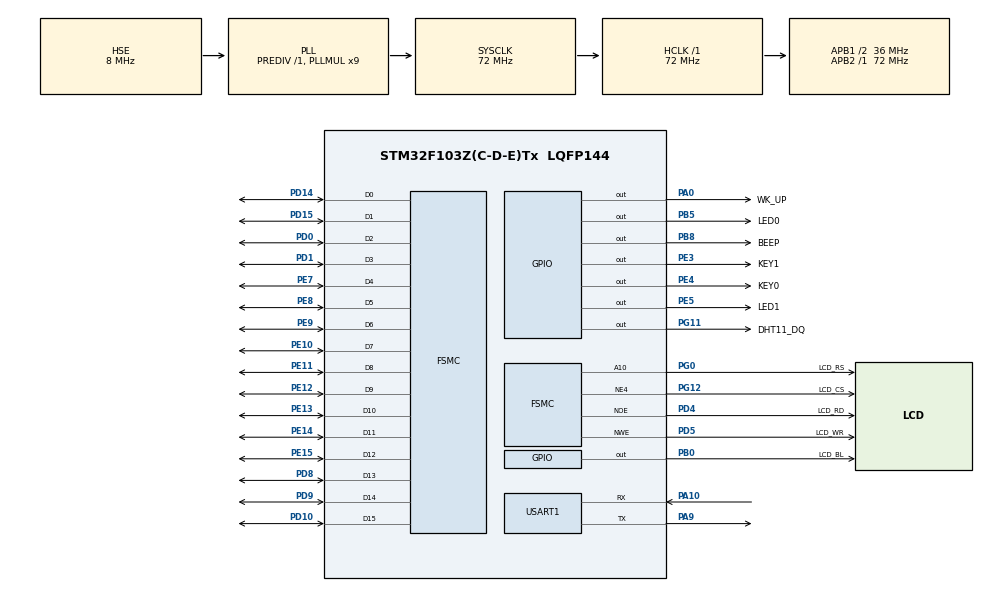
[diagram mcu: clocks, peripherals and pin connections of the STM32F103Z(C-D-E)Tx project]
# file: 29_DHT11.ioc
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FSMC.AddressSetupTime1=0
FSMC.BusTurnAroundDuration1=15
FSMC.DataSetupTime1=15
FSMC.ExtendedAddressSetupTime1=0
FSMC.ExtendedDataSetupTime1=1
FSMC.ExtendedMode1=FSMC_EXTENDED_MODE_ENABLE
Mcu.Family=STM32F1
Mcu.Name=STM32F103Z(C-D-E)Tx
Mcu.Package=LQFP144
NVIC.PriorityGroup=NVIC_PRIORITYGROUP_2
NVIC.USART1_IRQn=true\:2\:2\:true\:false\:true\:true\:true\:true
OSC_IN.Mode=HSE-External-Oscillator
OSC_IN.Signal=RCC_OSC_IN
OSC_OUT.Mode=HSE-External-Oscillator
OSC_OUT.Signal=RCC_OSC_OUT
PA0-WKUP.GPIO_Label=WK_UP
PA0-WKUP.GPIO_PuPd=GPIO_PULLDOWN
PA0-WKUP.GPIO_Speed=GPIO_SPEED_FREQ_HIGH
PA0-WKUP.PinState=GPIO_PIN_RESET
PA0-WKUP.Signal=GPIO_Output
PA10.Mode=Asynchronous
PA10.Signal=USART1_RX
PA13.Mode=Serial_Wire
PA13.Signal=SYS_JTMS-SWDIO
PA14.Mode=Serial_Wire
PA14.Signal=SYS_JTCK-SWCLK
PA9.Mode=Asynchronous
PA9.Signal=USART1_TX
PB0.GPIO_Label=LCD_BL
PB0.GPIO_PuPd=GPIO_PULLUP
PB0.GPIO_Speed=GPIO_SPEED_FREQ_HIGH
PB0.PinState=GPIO_PIN_SET
PB0.Signal=GPIO_Output
PB5.GPIO_Label=LED0
PB5.GPIO_PuPd=GPIO_PULLUP
PB5.GPIO_Speed=GPIO_SPEED_FREQ_HIGH
PB5.PinState=GPIO_PIN_SET
PB5.Signal=GPIO_Output
PB8.GPIO_Label=BEEP
PB8.GPIO_ModeDefaultOutputPP=GPIO_MODE_OUTPUT_PP
PB8.GPIO_PuPd=GPIO_PULLDOWN
PB8.GPIO_Speed=GPIO_SPEED_FREQ_HIGH
PB8.PinState=GPIO_PIN_RESET
PB8.Signal=GPIO_Output
PC14-OSC32_IN.Mode=LSE-External-Oscillator
PC14-OSC32_IN.Signal=RCC_OSC32_IN
PC15-OSC32_OUT.Mode=LSE-External-Oscillator
PC15-OSC32_OUT.Signal=RCC_OSC32_OUT
PD0.Signal=FSMC_D2_DA2
PD1.Signal=FSMC_D3_DA3
PD10.Signal=FSMC_D15_DA15
PD14.Signal=FSMC_D0_DA0
PD15.Signal=FSMC_D1_DA1
PD4.GPIO_Label=LCD_RD
PD4.Signal=FSMC_NOE
PD5.GPIO_Label=LCD_WR
PD5.Signal=FSMC_NWE
PD8.Signal=FSMC_D13_DA13
PD9.Signal=FSMC_D14_DA14
PE10.Signal=FSMC_D7_DA7
PE11.Signal=FSMC_D8_DA8
PE12.Signal=FSMC_D9_DA9
PE13.Signal=FSMC_D10_DA10
PE14.Signal=FSMC_D11_DA11
PE15.Signal=FSMC_D12_DA12
PE3.GPIO_Label=KEY1
PE3.GPIO_PuPd=GPIO_PULLUP
PE3.GPIO_Speed=GPIO_SPEED_FREQ_HIGH
PE3.PinState=GPIO_PIN_SET
PE3.Signal=GPIO_Output
PE4.GPIO_Label=KEY0
PE4.GPIO_PuPd=GPIO_PULLUP
PE4.GPIO_Speed=GPIO_SPEED_FREQ_HIGH
PE4.PinState=GPIO_PIN_SET
PE4.Signal=GPIO_Output
PE5.GPIO_Label=LED1
PE5.GPIO_PuPd=GPIO_PULLUP
PE5.GPIO_Speed=GPIO_SPEED_FREQ_HIGH
PE5.PinState=GPIO_PIN_SET
PE5.Signal=GPIO_Output
PE7.Signal=FSMC_D4_DA4
PE8.Signal=FSMC_D5_DA5
PE9.Signal=FSMC_D6_DA6
PG0.GPIO_Label=LCD_RS
PG0.Signal=FSMC_A10
PG11.GPIO_Label=DHT11_DQ
PG11.GPIO_ModeDefaultOutputPP=GPIO_MODE_OUTPUT_OD
PG11.GPIO_PuPd=GPIO_PULLUP
PG11.GPIO_Speed=GPIO_SPEED_FREQ_HIGH
PG11.PinState=GPIO_PIN_SET
PG11.Signal=GPIO_Output
PG12.GPIO_Label=LCD_CS
PG12.Mode=NorPsramChipSelect4_1
PG12.Signal=FSMC_NE4
ProjectManager.HeapSize=0x200
ProjectManager.StackSize=0x400
ProjectManager.TargetToolchain=STM32CubeIDE
RCC.AHBFreq_Value=72000000
RCC.APB1CLKDivider=RCC_HCLK_DIV2
RCC.APB1Freq_Value=36000000
RCC.APB1TimFreq_Value=72000000
RCC.APB2Freq_Value=72000000
RCC.APB2TimFreq_Value=72000000
RCC.HCLKFreq_Value=72000000
RCC.PLLMUL=RCC_PLL_MUL9
RCC.PLLSourceVirtual=RCC_PLLSOURCE_HSE
RCC.SYSCLKFreq_VALUE=72000000
RCC.SYSCLKSource=RCC_SYSCLKSOURCE_PLLCLK
RCC.USBFreq_Value=72000000
SH.FSMC_A10.0=FSMC_A10,A10_1
SH.FSMC_D0_DA0.0=FSMC_D0,16b-d1
SH.FSMC_D10_DA10.0=FSMC_D10,16b-d1
SH.FSMC_D11_DA11.0=FSMC_D11,16b-d1
SH.FSMC_D12_DA12.0=FSMC_D12,16b-d1
SH.FSMC_D13_DA13.0=FSMC_D13,16b-d1
SH.FSMC_D14_DA14.0=FSMC_D14,16b-d1
SH.FSMC_D15_DA15.0=FSMC_D15,16b-d1
SH.FSMC_D1_DA1.0=FSMC_D1,16b-d1
SH.FSMC_D2_DA2.0=FSMC_D2,16b-d1
SH.FSMC_D3_DA3.0=FSMC_D3,16b-d1
SH.FSMC_D4_DA4.0=FSMC_D4,16b-d1
SH.FSMC_D5_DA5.0=FSMC_D5,16b-d1
SH.FSMC_D6_DA6.0=FSMC_D6,16b-d1
SH.FSMC_D7_DA7.0=FSMC_D7,16b-d1
SH.FSMC_D8_DA8.0=FSMC_D8,16b-d1
SH.FSMC_D9_DA9.0=FSMC_D9,16b-d1
SH.FSMC_NOE.0=FSMC_NOE,Lcd1
SH.FSMC_NWE.0=FSMC_NWE,Lcd1
USART1.VirtualMode=VM_ASYNC
board=custom

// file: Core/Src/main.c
/* USER CODE BEGIN Header */

/* USER CODE END Header */
#include "main.h"
#include "usart.h"
#include "gpio.h"
#include "fsmc.h"

/* USER CODE BEGIN Includes */
#include "../../BSP/LED/led.h"
#include "../../BSP/KEY/key.h"
#include "../../BSP/LCD/lcd.h"
#include "../../BSP/DHT11/dht11.h"
#include "../../SYSTEM/delay/delay.h"
/* USER CODE END Includes */

void SystemClock_Config(void);

int main(void)
{
  /* USER CODE BEGIN 1 */
    uint8_t t = 0;
    uint8_t temperature;
    uint8_t humidity;
  /* USER CODE END 1 */

  /* MCU Configuration--------------------------------------------------------*/

  /* Reset of all peripherals, Initializes the Flash interface and the Systick. */
  HAL_Init();

  /* Configure the system clock */
  SystemClock_Config();

  /* USER CODE BEGIN SysInit */
  delay_init(72);						   /* 初始化延时函数 */
  /* USER CODE END SysInit */

  /* Initialize all configured peripherals */
  MX_GPIO_Init();
  MX_FSMC_Init();
  MX_USART1_UART_Init();
  /* USER CODE BEGIN 2 */
  lcd_init();                                         /* 初始化LCD */
  lcd_show_string(30, 50, 200, 16, 16, "STM32", RED);
  lcd_show_string(30, 70, 200, 16, 16, "DHT11 TEST", RED);
  lcd_show_string(30, 90, 200, 16, 16, "ATOM@ALIENTEK", RED);

  while (dht11_init()) /* DHT11初始化 */
  {
      lcd_show_string(30, 110, 200, 16, 16, "DHT11 Error", RED);
      delay_ms(200);
      lcd_fill(30, 110, 239, 130 + 16, WHITE);
      delay_ms(200);
  }

  lcd_show_string(30, 110, 200, 16, 16, "DHT11 OK", RED);
  lcd_show_string(30, 130, 200, 16, 16, "Temp:  C", BLUE);
  lcd_show_string(30, 150, 200, 16, 16, "Humi:  %", BLUE);
  /* USER CODE END 2 */

  /* Infinite loop */
  /* USER CODE BEGIN WHILE */
  while (1)
  {
	  if (t % 10 == 0) /* 每100ms读取一次 */
	  {
		  dht11_read_data(&temperature, &humidity);             /* 读取温湿度值 */
		  lcd_show_num(30 + 40, 130, temperature, 2, 16, BLUE); /* 显示温度 */
		  lcd_show_num(30 + 40, 150, humidity, 2, 16, BLUE);    /* 显示湿度 */
	  }

	  delay_ms(10);
	  t++;

	  if (t == 20)
	  {
		  t = 0;
		  LED0_TOGGLE(); /* LED0闪烁 */
	  }

    /* USER CODE END WHILE */

  }
}

void SystemClock_Config(void)
{
  RCC_OscInitTypeDef RCC_OscInitStruct = {0};
  RCC_ClkInitTypeDef RCC_ClkInitStruct = {0};

  /** Initializes the RCC Oscillators according to the specified parameters
  * in the RCC_OscInitTypeDef structure.
  */
  RCC_OscInitStruct.OscillatorType = RCC_OSCILLATORTYPE_HSE;
  RCC_OscInitStruct.HSEState = RCC_HSE_ON;
  RCC_OscInitStruct.HSEPredivValue = RCC_HSE_PREDIV_DIV1;
  RCC_OscInitStruct.HSIState = RCC_HSI_ON;
  RCC_OscInitStruct.PLL.PLLState = RCC_PLL_ON;
  RCC_OscInitStruct.PLL.PLLSource = RCC_PLLSOURCE_HSE;
  RCC_OscInitStruct.PLL.PLLMUL = RCC_PLL_MUL9;
  if (HAL_RCC_OscConfig(&RCC_OscInitStruct) != HAL_OK)
  {
    Error_Handler();
  }

  /** Initializes the CPU, AHB and APB buses clocks
  */
  RCC_ClkInitStruct.ClockType = RCC_CLOCKTYPE_HCLK|RCC_CLOCKTYPE_SYSCLK
                              |RCC_CLOCKTYPE_PCLK1|RCC_CLOCKTYPE_PCLK2;
  RCC_ClkInitStruct.SYSCLKSource = RCC_SYSCLKSOURCE_PLLCLK;
  RCC_ClkInitStruct.AHBCLKDivider = RCC_SYSCLK_DIV1;
  RCC_ClkInitStruct.APB1CLKDivider = RCC_HCLK_DIV2;
  RCC_ClkInitStruct.APB2CLKDivider = RCC_HCLK_DIV1;

  if (HAL_RCC_ClockConfig(&RCC_ClkInitStruct, FLASH_LATENCY_2) != HAL_OK)
  {
    Error_Handler();
  }
}

void Error_Handler(void)
{
  __disable_irq();
  while (1)
  {
  }
}
